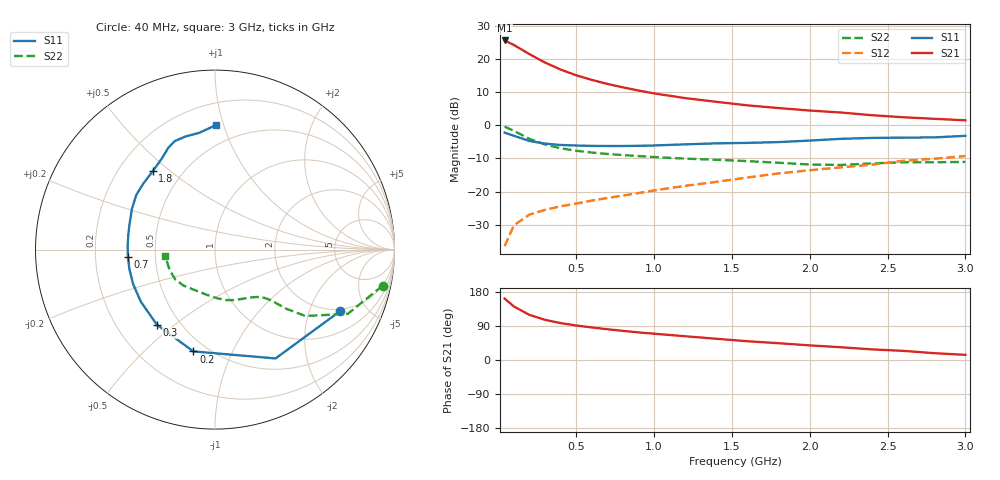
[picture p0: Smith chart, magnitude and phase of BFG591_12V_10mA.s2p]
! Filename:  BFG591A.S2P  Version:  4.0
! Philips part #: BFG591  Date: Jun 1994
! Bias condition: Vce=12V; Ic=10mA
#  MHz  S  MA  R  50
! Freq  S11  S21  S12  S22  !GUM [dB]
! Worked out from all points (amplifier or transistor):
!   21 points, 40 MHz to 3 GHz, reference 50 ohm
!   highest |S21| = 25.6 dB at 40 MHz (marker M1)
!   |S21| within 3 dB of that: start of sweep to 158.8 MHz
!   unconditionally stable (mu >= 1): 767.3 MHz to 2.161 GHz
!   at 300 MHz: K = 0.58, MSG = 22.2 dB, |S12| = -25.5 dB
!   at 1 GHz: K = 1.07, MAG = 13.0 dB, |S12| = -19.7 dB
!   at 3 GHz: K = 0.96, MSG = 5.4 dB, |S12| = -9.3 dB
!   S11 on the Smith chart (normalised r, x): 40 MHz: 1.89, -3.26; 200 MHz: 0.42, -0.72; 300 MHz: 0.37, -0.43; 700 MHz: 0.35, -0.04; 1.8 GHz: 0.34, +0.44; 3 GHz: 0.35, +0.94
40  0.776 -26.3  19.07 162.1  0.015 77.2  0.955 -12.2
100  0.694 -60.9  16.28 141.2  0.031 62.9  0.822 -25.8
200  0.58 -102.0  11.83 118.9  0.045 52.4  0.625 -36.3
300  0.529 -127.7  8.836 106.0  0.053 50.2  0.513 -39.8
400  0.505 -144.9  6.933 97.4  0.06 51.0  0.45 -41.3
500  0.495 -157.3  5.685 91.1  0.066 53.2  0.413 -42.6
600  0.489 -167.2  4.842 85.9  0.073 55.1  0.388 -44.1
700  0.487 -175.4  4.213 81.2  0.08 57.3  0.369 -45.9
800  0.487 177.2  3.737 76.8  0.087 59.2  0.355 -48.0
900  0.49 170.3  3.347 72.8  0.095 61.1  0.343 -50.6
1000  0.496 164.1  3.029 69.4  0.104 62.5  0.332 -53.6
1200  0.516 153.7  2.572 62.7  0.122 64.4  0.314 -60.7
1400  0.534 145.2  2.262 56.0  0.14 65.3  0.302 -68.8
1600  0.543 137.3  1.999 49.5  0.163 66.8  0.288 -77.5
1800  0.558 128.4  1.821 44.3  0.188 65.3  0.272 -87.0
2000  0.588 120.2  1.67 38.6  0.21 65.0  0.256 -100.4
2200  0.625 114.5  1.56 33.6  0.232 63.6  0.252 -116.1
2400  0.645 110.3  1.419 28.0  0.255 63.5  0.266 -130.7
2600  0.651 104.9  1.323 24.1  0.291 60.0  0.277 -143.2
2800  0.657 97.5  1.253 18.0  0.313 56.1  0.277 -156.3
3000  0.693 89.7  1.189 13.6  0.344 54.8  0.28 -172.8
